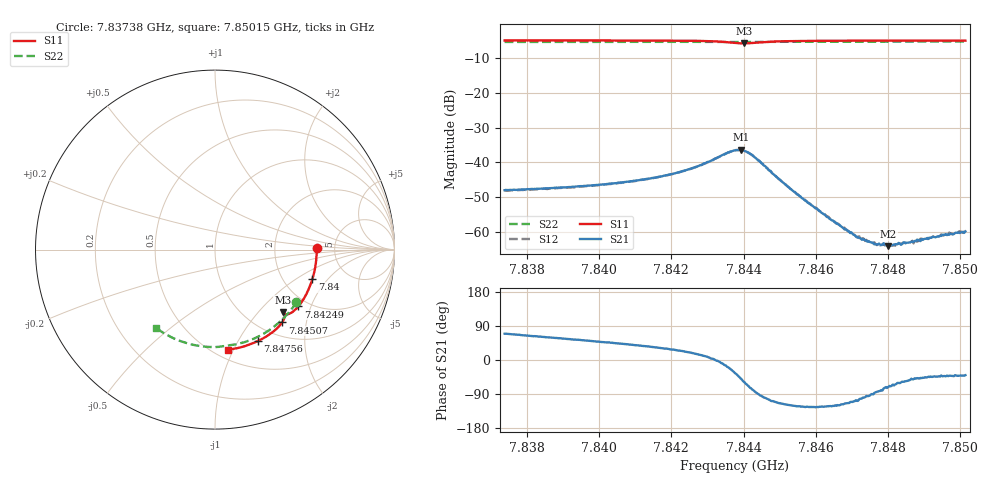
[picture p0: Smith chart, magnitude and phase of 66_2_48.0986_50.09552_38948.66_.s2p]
#  HZ  S  RI  R  50.00
! Rohde & Schwarz Vector Network Analyzer
! Rohde-Schwarz,ZNB20-2Port,1311601062101988,3.16
! Created: UTC 12/23/2023, 3:41:17 AM
! freq[Hz]  re:S11  im:S11  re:S21  im:S21  re:S12  im:S12  re:S22  im:S22
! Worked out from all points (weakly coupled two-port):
!   401 points, 7.83738 GHz to 7.85015 GHz, reference 50 ohm
!   highest |S21| = -36.35 dB at 7.84392 GHz (marker M1); lowest = -64.1 dB at 7.84801 GHz (marker M2)
!   lowest |S11| = -5.8 dB at 7.84402 GHz (marker M3), VSWR 3.12, Z = 72.2 - j68.7 ohm
!   |S11| at or under -10 dB: nowhere
!   |S22| runs from -5.4 to -5.3 dB; largest |S21 - S12| = 0.00031
!   S11 on the Smith chart (normalised r, x): 7.83738 GHz: 3.61, +0.11; 7.84 GHz: 2.89, -1.38; 7.84249 GHz: 1.77, -1.64; 7.84507 GHz: 1.25, -1.46; 7.84756 GHz: 0.81, -1.21; 7.85015 GHz: 0.58, -0.95
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7.837378e9  0.5664 0.01  0.00141 0.00373  0.00143 0.00367  0.4535 -0.2929
7.839517e9  0.5515 -0.1317  0.00279 0.00361  0.00274 0.00357  0.3562 -0.4067
7.839996e9  0.5431 -0.1627  0.00319 0.00357  0.00315 0.00353  0.3305 -0.428
7.841656e9  0.4985 -0.2673  0.00527 0.00332  0.00523 0.0033  0.2315 -0.4892
7.842486e9  0.4643 -0.3169  0.0075 0.00275  0.00745 0.00279  0.1775 -0.5114
7.843284e9  0.4157 -0.3566  0.0118 -0.000491  0.0118 -0.000502  0.1233 -0.5264
7.843762e9  0.3813 -0.3572  0.0122 -0.00849  0.0125 -0.00837  0.0912 -0.5314
7.843922e9  0.3774 -0.3516  0.00996 -0.0115  0.00999 -0.0114  0.0811 -0.5329
7.844018e9  0.378 -0.3494  0.00778 -0.0125  0.00787 -0.0126  0.0752 -0.5337
7.844305e9  0.3864 -0.3544  0.00152 -0.0118  0.00155 -0.0119  0.0566 -0.5372
7.845071e9  0.374 -0.4055  -0.00225 -0.00475  -0.00226 -0.00477  0.00316 -0.5425
7.845901e9  0.333 -0.4498  -0.00135 -0.00199  -0.00134 -0.00201  -0.0552 -0.5408
7.847082e9  0.2657 -0.4959  -0.000285 -0.000849  -0.000323 -0.00085  -0.1371 -0.5269
7.847561e9  0.2368 -0.5107  3.5e-06 -0.000705  -8.36e-06 -0.000697  -0.1696 -0.5178
7.84772e9  0.227 -0.5153  7.86e-05 -0.000656  9.87e-05 -0.000625  -0.1802 -0.5143
7.848008e9  0.209 -0.5226  0.000201 -0.000593  0.000226 -0.000616  -0.1993 -0.5074
7.84804e9  0.2071 -0.5235  0.000231 -0.000589  0.000254 -0.000615  -0.2013 -0.5066
7.848135e9  0.2011 -0.5259  0.00028 -0.000592  0.000234 -0.000591  -0.2074 -0.5042
7.848774e9  0.1606 -0.5397  0.000483 -0.00056  0.000501 -0.000557  -0.2484 -0.4856
7.848965e9  0.1483 -0.5431  0.000527 -0.000561  0.000557 -0.000588  -0.2603 -0.4795
7.84954e9  0.1112 -0.5517  0.000673 -0.000617  0.000668 -0.000589  -0.2949 -0.4593
7.850146e9  0.0713 -0.5581  0.000784 -0.000658  0.000754 -0.000688  -0.3303 -0.4351
